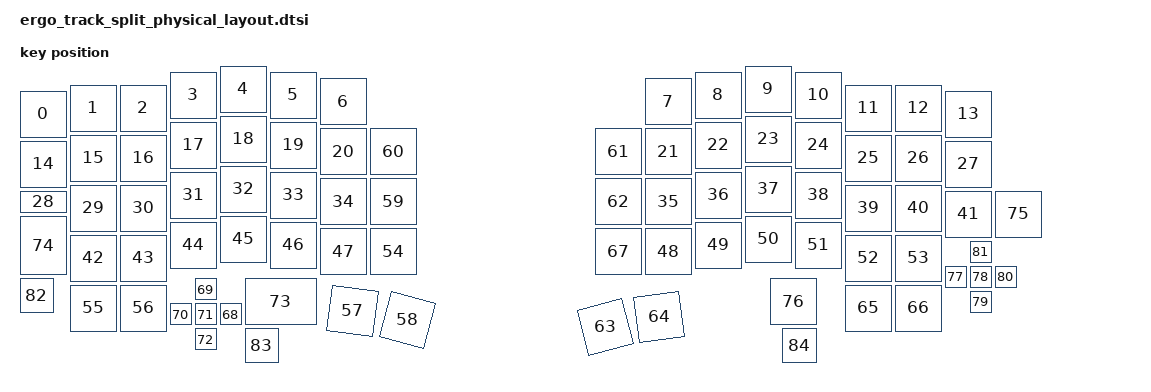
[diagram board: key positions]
/ {
    ergo_track_physical_layout: ergo_track_physical_layout {
        compatible = "zmk,physical-layout";
        display-name = "Default";
        transform = <&default_transform>;
        kscan = <&kscan0>;

        keys  //                     w   h      x    y     rot     rx    ry
            = <&key_physical_attrs 100 100    50   50      0     0    0>  // L 0,0
            , <&key_physical_attrs 100 100   150   38      0     0    0>  // L 0,1
            , <&key_physical_attrs 100 100   250   38      0     0    0>  // L 0,2
            , <&key_physical_attrs 100 100   350   12      0     0    0>  // L 0,3
            , <&key_physical_attrs 100 100   450    0      0     0    0>  // L 0,4
            , <&key_physical_attrs 100 100   550   12      0     0    0>  // L 0,5
            , <&key_physical_attrs 100 100   650   25      0     0    0>  // L 0,6
            , <&key_physical_attrs 100 100  1300   25      0     0    0>  // R 0,0
            , <&key_physical_attrs 100 100  1400   12      0     0    0>  // R 0,1
            , <&key_physical_attrs 100 100  1500    0      0     0    0>  // R 0,2
            , <&key_physical_attrs 100 100  1600   12      0     0    0>  // R 0,3
            , <&key_physical_attrs 100 100  1700   38      0     0    0>  // R 0,4
            , <&key_physical_attrs 100 100  1800   38      0     0    0>  // R 0,5
            , <&key_physical_attrs 100 100  1900   50      0     0    0>  // R 0,6
            , <&key_physical_attrs 100 100    50  150      0     0    0>  // L 1,0
            , <&key_physical_attrs 100 100   150  138      0     0    0>  // L 1,1
            , <&key_physical_attrs 100 100   250  138      0     0    0>  // L 1,2
            , <&key_physical_attrs 100 100   350  112      0     0    0>  // L 1,3
            , <&key_physical_attrs 100 100   450  100      0     0    0>  // L 1,4
            , <&key_physical_attrs 100 100   550  112      0     0    0>  // L 1,5
            , <&key_physical_attrs 100 100   650  125      0     0    0>  // L 1,6
            , <&key_physical_attrs 100 100  1300  125      0     0    0>  // R 1,0
            , <&key_physical_attrs 100 100  1400  112      0     0    0>  // R 1,1
            , <&key_physical_attrs 100 100  1500  100      0     0    0>  // R 1,2
            , <&key_physical_attrs 100 100  1600  112      0     0    0>  // R 1,3
            , <&key_physical_attrs 100 100  1700  138      0     0    0>  // R 1,4
            , <&key_physical_attrs 100 100  1800  138      0     0    0>  // R 1,5
            , <&key_physical_attrs 100 100  1900  150      0     0    0>  // R 1,6
            , <&key_physical_attrs 100  50    50  250      0     0    0>  // L 2,0
            , <&key_physical_attrs 100 100   150  238      0     0    0>  // L 2,1
            , <&key_physical_attrs 100 100   250  238      0     0    0>  // L 2,2
            , <&key_physical_attrs 100 100   350  212      0     0    0>  // L 2,3
            , <&key_physical_attrs 100 100   450  200      0     0    0>  // L 2,4
            , <&key_physical_attrs 100 100   550  212      0     0    0>  // L 2,5
            , <&key_physical_attrs 100 100   650  225      0     0    0>  // L 2,6
            , <&key_physical_attrs 100 100  1300  225      0     0    0>  // R 2,0
            , <&key_physical_attrs 100 100  1400  212      0     0    0>  // R 2,1
            , <&key_physical_attrs 100 100  1500  200      0     0    0>  // R 2,2
            , <&key_physical_attrs 100 100  1600  212      0     0    0>  // R 2,3
            , <&key_physical_attrs 100 100  1700  238      0     0    0>  // R 2,4
            , <&key_physical_attrs 100 100  1800  238      0     0    0>  // R 2,5
            , <&key_physical_attrs 100 100  1900  250      0     0    0>  // R 2,6
            , <&key_physical_attrs 100 100   150  338      0     0    0>  // L 3,1
            , <&key_physical_attrs 100 100   250  338      0     0    0>  // L 3,2
            , <&key_physical_attrs 100 100   350  312      0     0    0>  // L 3,3
            , <&key_physical_attrs 100 100   450  300      0     0    0>  // L 3,4
            , <&key_physical_attrs 100 100   550  312      0     0    0>  // L 3,5
            , <&key_physical_attrs 100 100   650  325      0     0    0>  // L 3,6
            , <&key_physical_attrs 100 100  1300  325      0     0    0>  // R 3,0
            , <&key_physical_attrs 100 100  1400  312      0     0    0>  // R 3,1
            , <&key_physical_attrs 100 100  1500  300      0     0    0>  // R 3,2
            , <&key_physical_attrs 100 100  1600  312      0     0    0>  // R 3,3
            , <&key_physical_attrs 100 100  1700  338      0     0    0>  // R 3,4
            , <&key_physical_attrs 100 100  1800  338      0     0    0>  // R 3,5
            , <&key_physical_attrs 100 100   750  325      0     0    0>  // L 4,0
            , <&key_physical_attrs 100 100   150  438      0     0    0>  // L 4,1
            , <&key_physical_attrs 100 100   250  438      0     0    0>  // L 4,2
            , <&key_physical_attrs 100 100   675  395    750   350  425>  // L 4,3
            , <&key_physical_attrs 100 100   785  335   1500   350  425>  // L 4,4
            , <&key_physical_attrs 100 100   750  225      0     0    0>  // L 4,5
            , <&key_physical_attrs 100 100   750  125      0     0    0>  // L 4,6
            , <&key_physical_attrs 100 100  1200  125      0     0    0>  // R 4,0
            , <&key_physical_attrs 100 100  1200  225      0     0    0>  // R 4,1
            , <&key_physical_attrs 100 100  1165  345  (-1500) 1718  425>  // R 4,2
            , <&key_physical_attrs 100 100  1275  405   (-750) 1718  425>  // R 4,3
            , <&key_physical_attrs 100 100  1700  438      0     0    0>  // R 4,4
            , <&key_physical_attrs 100 100  1800  438      0     0    0>  // R 4,5
            , <&key_physical_attrs 100 100  1200  325      0     0    0>  // R 4,6
            , <&key_physical_attrs  50  50   450  475      0     0    0>  // L 5,0
            , <&key_physical_attrs  50  50   400  425      0     0    0>  // L 5,1
            , <&key_physical_attrs  50  50   350  475      0     0    0>  // L 5,2
            , <&key_physical_attrs  50  50   400  475      0     0    0>  // L 5,3
            , <&key_physical_attrs  50  50   400  525      0     0    0>  // L 5,4
            , <&key_physical_attrs 150 100   500  425      0     0    0>  // L 5,5
            , <&key_physical_attrs 100 125    50  300      0     0    0>  // L 5,6
            , <&key_physical_attrs 100 100  2000  250      0     0    0>  // R 5,0
            , <&key_physical_attrs 100 100  1550  425      0     0    0>  // R 5,1
            , <&key_physical_attrs  50  50  1900  400      0     0    0>  // R 5,2
            , <&key_physical_attrs  50  50  1950  400      0     0    0>  // R 5,3
            , <&key_physical_attrs  50  50  1950  450      0     0    0>  // R 5,4
            , <&key_physical_attrs  50  50  2000  400      0     0    0>  // R 5,5
            , <&key_physical_attrs  50  50  1950  350      0     0    0>  // R 5,6
            , <&key_physical_attrs  75  75    50  425      0     0    0>  // ENC_L1
            , <&key_physical_attrs  75  75   500  525      0     0    0>  // ENC_L2
            , <&key_physical_attrs  75  75  1575  525      0     0    0>  // ENC_R
            ;
    };
};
